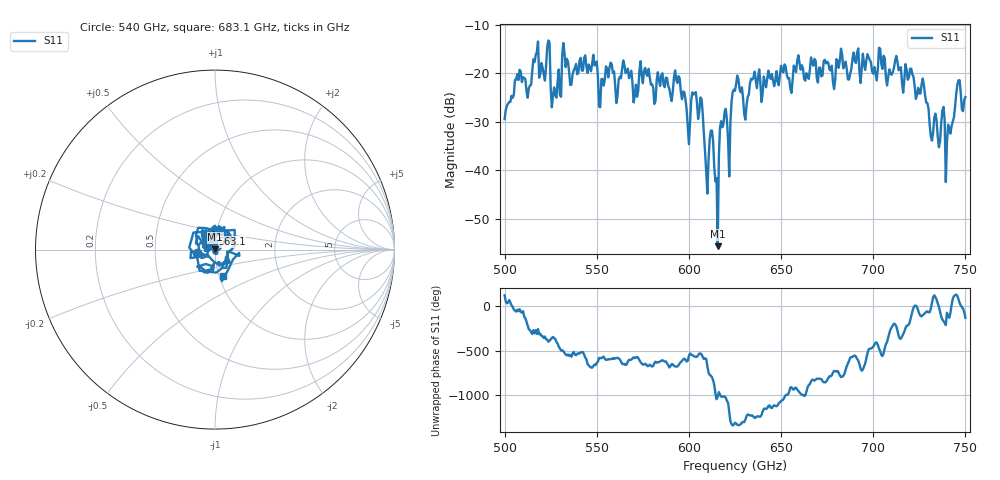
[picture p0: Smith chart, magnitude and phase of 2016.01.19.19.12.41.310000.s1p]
!Created with skrf (http://scikit-rf.org).
# GHz S RI R 50.0
!freq ReS11 ImS11
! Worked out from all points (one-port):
!   401 points, 500 GHz to 750 GHz, reference 50 ohm
!   lowest |S11| = -55.6 dB at 615.6 GHz (marker M1), VSWR 1.00, Z = 50.1 + j0.144 ohm
!   |S11| at or under -10 dB: start of sweep to end of sweep
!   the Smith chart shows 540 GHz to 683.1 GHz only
!   S11 on the Smith chart (normalised r, x): 540 GHz: 0.82, -0.03; 563.1 GHz: 0.96, +0.17; 683.1 GHz: 1.05, -0.32
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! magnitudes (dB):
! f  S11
! 500 GHz  -29.4
! 507.5 GHz  -21.4
! 513.1 GHz  -23.1
! 516.9 GHz  -16.3
! 523.8 GHz  -13.2
! 526.9 GHz  -22.9
! 531.2 GHz  -16.3
! 540 GHz  -19.9
! 562.5 GHz  -20.7
! 563.1 GHz  -21.0
! 593.8 GHz  -22.0
! 599.4 GHz  -30.9
! 606.2 GHz  -25.0
! 609.4 GHz  -40.2
! 612.5 GHz  -31.8
! 615.6 GHz  -55.6
! 618.1 GHz  -31.1
! 621.9 GHz  -41.3
! 625 GHz  -23.6
! 630.6 GHz  -29.6
! 634.4 GHz  -21.3
! 656.2 GHz  -21.4
! 683.1 GHz  -16.1
! 687.5 GHz  -20.1
! 718.8 GHz  -21.3
! 740.6 GHz  -30.6
! 745.6 GHz  -22.4
! 750 GHz  -24.9
